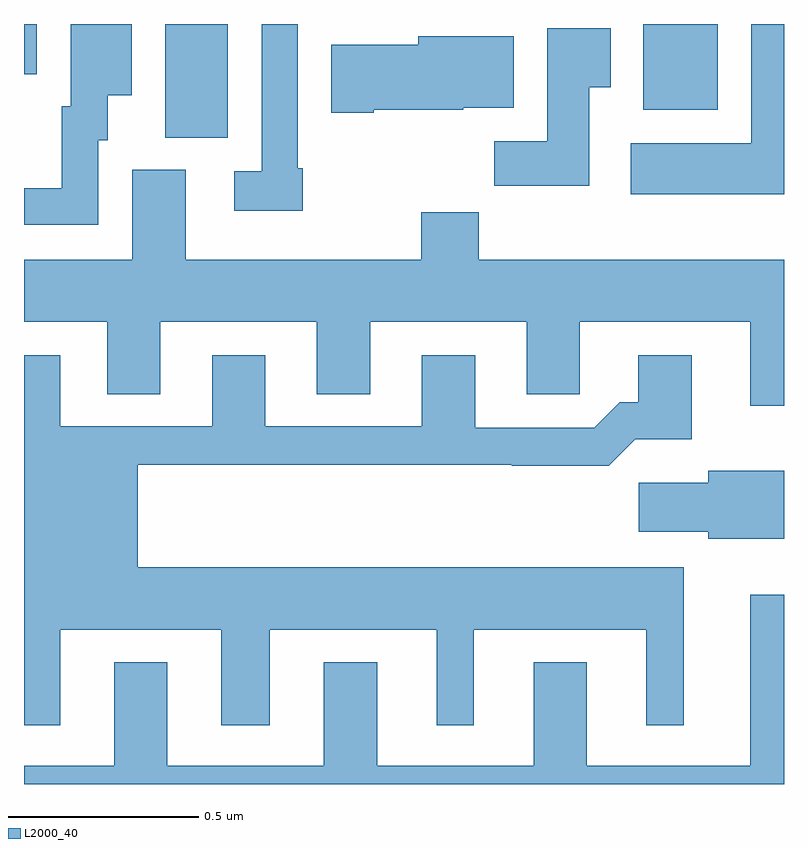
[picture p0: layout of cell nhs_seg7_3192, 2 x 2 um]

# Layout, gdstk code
import gdstk
lib = gdstk.Library(unit=1e-6, precision=1e-09)
def R(c, l, rs):  # rectangles x0, y0, x1, y1
    for r in rs: c.add(gdstk.rectangle(r[:2], r[2:], *l))
def P(c, l, *ps):  # polygons
    for p in ps: c.add(gdstk.Polygon(p, *l))
L2000_40 = (2000, 40)

nhs_seg7_3192 = lib.new_cell('nhs_seg7_3192')
R(nhs_seg7_3192, L2000_40, [(155.372,1067.701,155.536,1068), (156.629,1067.774,156.826,1068), (155,1067.868,155.034,1068)])
P(nhs_seg7_3192, L2000_40, [(155.734,1067.62),(155.721,1067.62),(155.721,1068),(155.625,1068),(155.625,1067.613),(155.553,1067.613),(155.553,1067.508),(155.734,1067.508)],
  [(155.196,1067.694),(155.221,1067.694),(155.221,1067.813),(155.284,1067.813),(155.284,1068),(155.123,1068),(155.123,1067.784),(155.099,1067.784),(155.099,1067.568),(155,1067.568),(155,1067.472),(155.196,1067.472)],
  [(157,1068),(156.914,1068),(156.914,1067.686),(156.597,1067.686),(156.597,1067.552),(157,1067.552)],
  [(156.487,1067.833),(156.544,1067.833),(156.544,1067.989),(156.377,1067.989),(156.377,1067.692),(156.238,1067.692),(156.238,1067.574),(156.487,1067.574)],
  [(155.92,1067.774),(156.156,1067.774),(156.156,1067.78),(156.289,1067.78),(156.289,1067.968),(156.038,1067.968),(156.038,1067.945),(155.808,1067.945),(155.808,1067.767),(155.92,1067.767)],
  [(157,1067.38),(156.197,1067.38),(156.197,1067.504),(156.046,1067.504),(156.046,1067.38),(155.425,1067.38),(155.425,1067.616),(155.285,1067.616),(155.285,1067.38),(155,1067.38),(155,1067.216),(155.219,1067.216),(155.219,1067.026),(155.359,1067.026),(155.359,1067.216),(155.771,1067.216),(155.771,1067.026),(155.911,1067.026),(155.911,1067.216),(156.323,1067.216),(156.323,1067.026),(156.462,1067.026),(156.462,1067.216),(156.911,1067.216),(156.911,1066.995),(157,1066.995)],
  [(155.095,1066.406),(155.519,1066.406),(155.519,1066.155),(155.647,1066.155),(155.647,1066.406),(156.086,1066.406),(156.086,1066.155),(156.184,1066.155),(156.184,1066.406),(156.638,1066.406),(156.638,1066.155),(156.736,1066.155),(156.736,1066.57),(155.299,1066.57),(155.299,1066.84),(156.283,1066.84),(156.283,1066.838),(156.539,1066.838),(156.608,1066.907),(156.757,1066.907),(156.757,1067.128),(156.617,1067.128),(156.617,1067.005),(156.568,1067.005),(156.501,1066.938),(156.187,1066.938),(156.187,1067.128),(156.047,1067.128),(156.047,1066.941),(155.635,1066.941),(155.635,1067.128),(155.495,1067.128),(155.495,1066.941),(155.095,1066.941),(155.095,1067.128),(155,1067.128),(155,1066.155),(155.095,1066.155)],
  [(157,1066.825),(156.801,1066.825),(156.801,1066.793),(156.618,1066.793),(156.618,1066.664),(156.801,1066.664),(156.801,1066.646),(157,1066.646)],
  [(157,1066.498),(156.911,1066.498),(156.911,1066.048),(156.481,1066.048),(156.481,1066.321),(156.341,1066.321),(156.341,1066.048),(155.929,1066.048),(155.929,1066.321),(155.789,1066.321),(155.789,1066.048),(155.377,1066.048),(155.377,1066.321),(155.237,1066.321),(155.237,1066.048),(155,1066.048),(155,1066),(157,1066)])

lib.write_gds('nhs_seg7_3192.gds')
